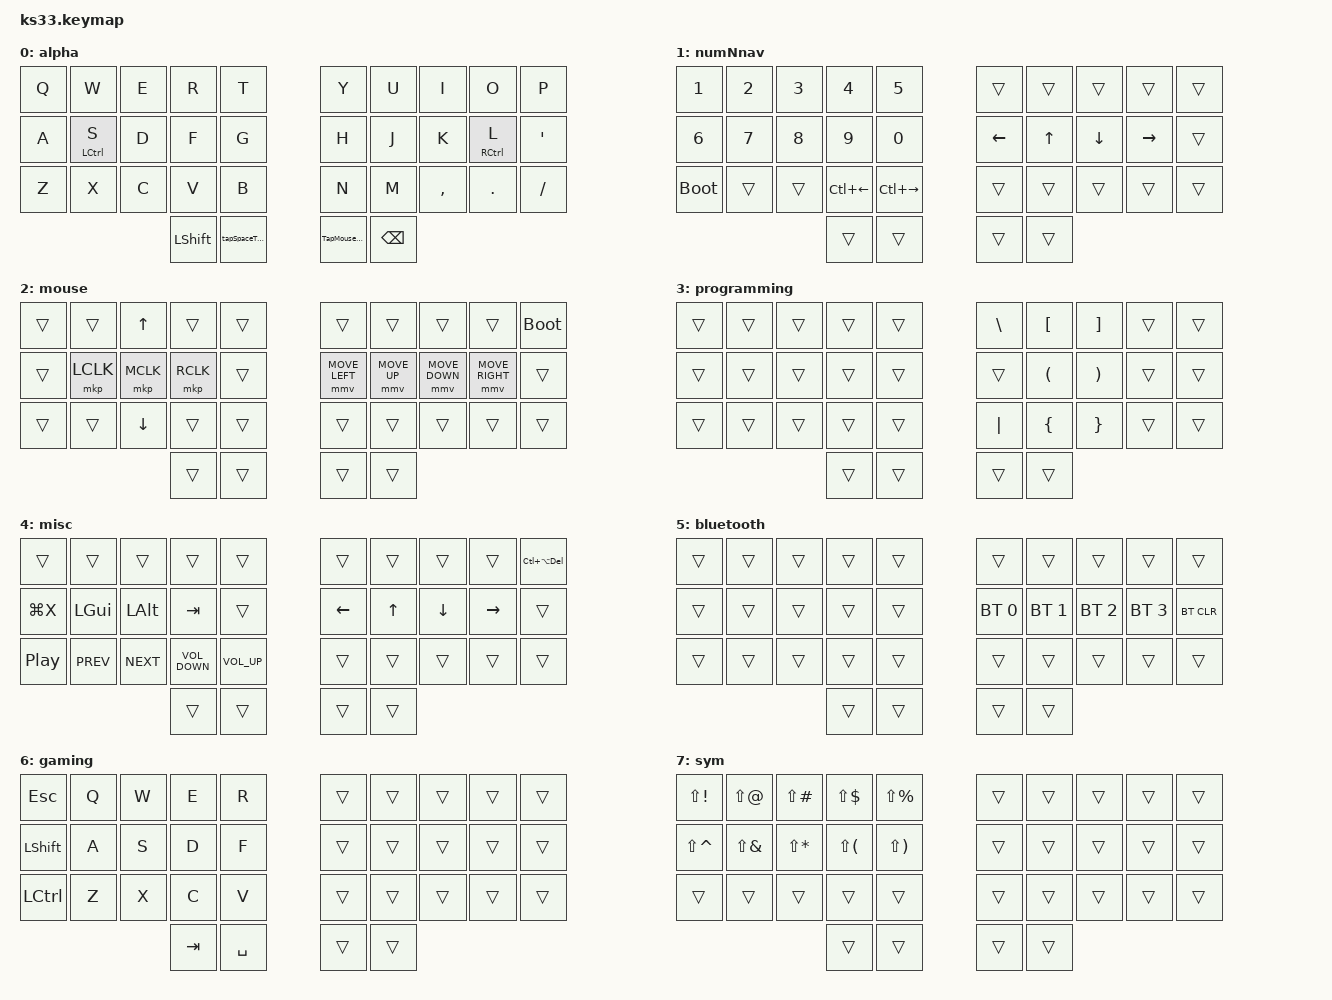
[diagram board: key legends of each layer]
#include <behaviors/mouse_keys.dtsi>
#include <dt-bindings/zmk/mouse.h>
#include <behaviors.dtsi>
#include <dt-bindings/zmk/bt.h>
#include <dt-bindings/zmk/keys.h>
#include <dt-bindings/zmk/pointing.h>

#define ZMK_POINTING_DEFAULT_MOVE_VAL 1650  // default is 600

&mmv { delay-ms = <0>; };

/ {
    behaviors {
        tap_hol: tap_hol {
            compatible = "zmk,behavior-hold-tap";
            label = "TAP_HOL";
            bindings = <&mo>, <&kp>;

            #binding-cells = <2>;
            tapping-term-ms = <125>;
            flavor = "tap-preferred";
            quick-tap-ms = <75>;
        };

        tap_hol_kp: tap_hol_kp {
            compatible = "zmk,behavior-hold-tap";
            label = "TAP_HOL_KP";
            bindings = <&kp>, <&kp>;

            #binding-cells = <2>;
            tapping-term-ms = <150>;
            flavor = "tap-preferred";
            quick-tap-ms = <100>;
            require-prior-idle-ms = <150>;
        };

        TapMouseTapMisc: TapMouseTapMisc {
            compatible = "zmk,behavior-tap-dance";
            label = "TAPMOUSETAPMISC";
            #binding-cells = <0>;
            bindings = <&mo 2>, <&mo 4>;

            tapping-term-ms = <225>;
        };

        tapSpaceTapNumTapSym: tapSpaceTapNumTapSym {
            compatible = "zmk,behavior-tap-dance";
            label = "TAPSPACETAPNUMTAPSYM";
            #binding-cells = <0>;
            bindings = <&kp SPACE>, <&mo 1>, <&mo 7>;

            tapping-term-ms = <225>;
        };
    };

    combos {
        compatible = "zmk,combos";

        dash {
            bindings = <&kp MINUS>;
            key-positions = <18 19>;
            layers = <0>;
        };

        tab {
            bindings = <&kp TAB>;
            key-positions = <10 11 12>;
            layers = <0>;
        };

        semicolon {
            bindings = <&kp SEMICOLON>;
            key-positions = <19 29>;
            layers = <0>;
        };

        tilde {
            bindings = <&kp GRAVE>;
            key-positions = <0 1>;
            layers = <0>;
        };

        ctrlTab {
            bindings = <&kp LC(TAB)>;
            key-positions = <10 20>;
            layers = <0>;
        };

        equal {
            bindings = <&kp EQUAL>;
            key-positions = <17 18 19>;
            layers = <0>;
        };

        bluetooth {
            bindings = <&tog 5>;
            key-positions = <30 31 32 33>;
        };

        delete {
            bindings = <&kp DEL>;
            key-positions = <27 28>;
            layers = <0>;
        };

        programming {
            bindings = <&mo 3>;
            key-positions = <21 22>;
            layers = <0>;
        };

        enter {
            bindings = <&kp ENTER>;
            key-positions = <16 17 18>;
            layers = <0>;
        };

        escape_key {
            bindings = <&kp ESCAPE>;
            key-positions = <7 8 9>;
            layers = <0>;
        };

        gaming_access {
            bindings = <&tog 6>;
            key-positions = <20 21 22 23 6 7 8 9>;
            layers = <0 6>;
        };
    };

    keymap {
        compatible = "zmk,keymap";

        alpha {
            bindings = <
&kp Q  &kp W                       &kp E  &kp R           &kp T                  &kp Y             &kp U     &kp I      &kp O                        &kp P
&kp A  &tap_hol_kp LEFT_CONTROL S  &kp D  &kp F           &kp G                  &kp H             &kp J     &kp K      &tap_hol_kp RIGHT_CONTROL L  &kp SQT
&kp Z  &kp X                       &kp C  &kp V           &kp B                  &kp N             &kp M     &kp COMMA  &kp DOT                      &kp FSLH

                                          &kp LEFT_SHIFT  &tapSpaceTapNumTapSym  &TapMouseTapMisc  &kp BSPC
            >;
        };

        numNnav {
            bindings = <
&kp N1       &kp N2  &kp N3  &kp N4        &kp N5         &trans    &trans  &trans    &trans     &trans
&kp N6       &kp N7  &kp N8  &kp N9        &kp N0         &kp LEFT  &kp UP  &kp DOWN  &kp RIGHT  &trans
&bootloader  &trans  &trans  &kp LC(LEFT)  &kp LC(RIGHT)  &trans    &trans  &trans    &trans     &trans

                             &trans        &trans         &trans    &trans
            >;
        };

        mouse {
            bindings = <
&trans  &trans     &kp UP_ARROW    &trans     &trans  &trans          &trans        &trans          &trans           &bootloader
&trans  &mkp LCLK  &mkp MCLK       &mkp RCLK  &trans  &mmv MOVE_LEFT  &mmv MOVE_UP  &mmv MOVE_DOWN  &mmv MOVE_RIGHT  &trans
&trans  &trans     &kp DOWN_ARROW  &trans     &trans  &trans          &trans        &trans          &trans           &trans

                                   &trans     &trans  &trans          &trans
            >;
        };

        programming {
            bindings = <
&trans  &trans  &trans  &trans  &trans  &kp BACKSLASH  &kp LEFT_BRACKET      &kp RIGHT_BRACKET      &trans  &trans
&trans  &trans  &trans  &trans  &trans  &trans         &kp LEFT_PARENTHESIS  &kp RIGHT_PARENTHESIS  &trans  &trans
&trans  &trans  &trans  &trans  &trans  &kp PIPE       &kp LEFT_BRACE        &kp RIGHT_BRACE        &trans  &trans

                        &trans  &trans  &trans         &trans
            >;
        };

        misc {
            bindings = <
&trans     &trans      &trans      &trans             &trans           &trans          &trans        &trans    &trans           &kp LC(LA(DELETE))
&kp LG(X)  &kp LGUI    &kp LALT    &kp TAB            &trans           &kp LEFT_ARROW  &kp UP_ARROW  &kp DOWN  &kp RIGHT_ARROW  &trans
&kp C_PP   &kp C_PREV  &kp C_NEXT  &kp C_VOLUME_DOWN  &kp C_VOLUME_UP  &trans          &trans        &trans    &trans           &trans

                                   &trans             &trans           &trans          &trans
            >;
        };

        bluetooth {
            bindings = <
&trans  &trans  &trans  &trans  &trans  &trans        &trans        &trans        &trans        &trans
&trans  &trans  &trans  &trans  &trans  &bt BT_SEL 0  &bt BT_SEL 1  &bt BT_SEL 2  &bt BT_SEL 3  &bt BT_CLR
&trans  &trans  &trans  &trans  &trans  &trans        &trans        &trans        &trans        &trans

                        &trans  &trans  &trans        &trans
            >;
        };

        gaming {
            bindings = <
&kp ESC         &kp Q  &kp W  &kp E    &kp R      &trans  &trans  &trans  &trans  &trans
&kp LEFT_SHIFT  &kp A  &kp S  &kp D    &kp F      &trans  &trans  &trans  &trans  &trans
&kp LCTRL       &kp Z  &kp X  &kp C    &kp V      &trans  &trans  &trans  &trans  &trans

                              &kp TAB  &kp SPACE  &trans  &trans
            >;
        };

        sym {
            bindings = <
&kp LS(EXCLAMATION)  &kp LS(AT)    &kp LS(POUND)  &kp LS(DLLR)  &kp LS(PRCNT)  &trans  &trans  &trans  &trans  &trans
&kp LS(CARET)        &kp LS(AMPS)  &kp LS(STAR)   &kp LS(LPAR)  &kp LS(RPAR)   &trans  &trans  &trans  &trans  &trans
&trans               &trans        &trans         &trans        &trans         &trans  &trans  &trans  &trans  &trans

                                                  &trans        &trans         &trans  &trans
            >;
        };
    };
};
